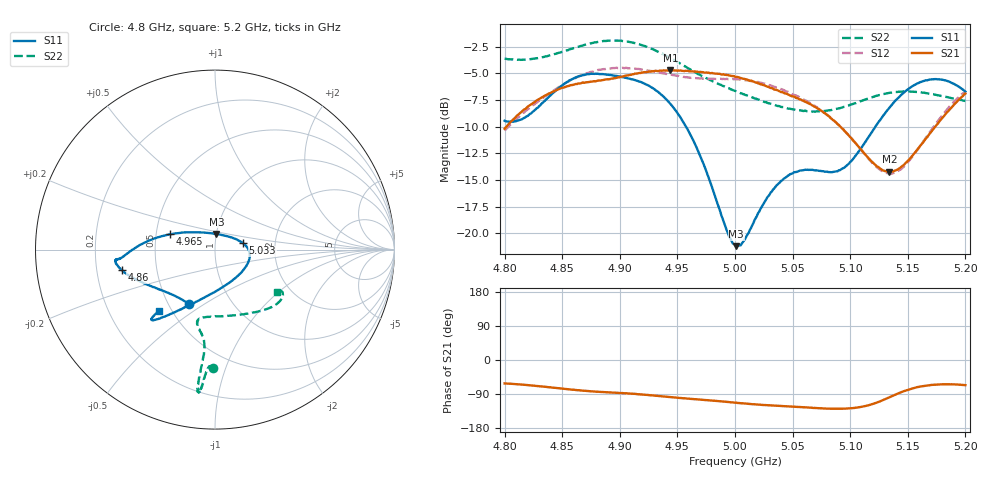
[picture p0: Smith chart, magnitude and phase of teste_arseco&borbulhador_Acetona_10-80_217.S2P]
! Network Analyzer HP8722D
! Hewlett-Packard
! Data name: Linha & Wilkinson
! Saver's name: Rodrigo Anjos
! Comments: Teste da utilização de aquisição
! continua pelo VNA HP8722D
! Time and date: 17/4/2025 16:10
!  Frequency  S11  S21  S12  S22
# HZ  S  MA R 50
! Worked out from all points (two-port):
!   401 points, 4.8 GHz to 5.2 GHz, reference 50 ohm
!   highest |S21| = -4.72 dB at 4.944 GHz (marker M1); lowest = -14.2 dB at 5.134 GHz (marker M2)
!   |S21| within 3 dB of the highest: 4.826 GHz to 5.062 GHz (236 MHz wide, 4.77 % of centre); 5.192279 GHz to end of sweep
!   lowest |S11| = -21.2 dB at 5.001 GHz (marker M3), VSWR 1.19, Z = 50 + j8.74 ohm
!   |S11| at or under -10 dB: 4.957 GHz to 5.122 GHz (164.4 MHz wide, 3.26 % of centre)
!   |S22| runs from -8.6 to -1.9 dB; largest |S21 - S12| = 0.87
!   S11 on the Smith chart (normalised r, x): 4.8 GHz: 0.63, -0.43; 4.86 GHz: 0.31, -0.10; 4.965 GHz: 0.59, +0.11; 5.033 GHz: 1.37, +0.10; 5.2 GHz: 0.43, -0.37
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4.8e9  0.3367 -116.0  0.309 -61.8  0.3034 -176.1  0.658 -91.1
4.818e9  0.3496 -135.2  0.3825 -65.7  0.3737 -175.5  0.6509 -92.6
4.86e9  0.5328 -167.7  0.4972 -78.4  0.5291 -178.7  0.7366 -95.0
4.867e9  0.5487 -170.4  0.5068 -80.7  0.5503 179.9  0.7552 -95.3
4.899e9  0.5429 -174.4  0.5383 -87.0  0.5944 173.8  0.7984 -96.8
4.934e9  0.4562 179.8  0.5764 -95.1  0.5669 170.5  0.7052 -96.9
4.944e9  0.4037 175.1  0.581 -97.9  0.5536 170.7  0.6623 -96.7
4.965e9  0.2639 161.1  0.5741 -103.5  0.5332 172.4  0.5701 -96.1
4.993e9  0.1028 114.2  0.5513 -110.5  0.5294 174.7  0.4808 -98.6
5e9  0.08842 88.7  0.5413 -112.7  0.5276 174.8  0.4646 -100.1
5.001e9  0.08711 84.9  0.5406 -112.7  0.5268 174.9  0.4632 -100.3
5.007e9  0.09121 62.1  0.5293 -114.3  0.523 174.7  0.4489 -101.5
5.033e9  0.1603 13.1  0.476 -120.2  0.4878 173.4  0.4021 -103.4
5.049e9  0.19 -2.4  0.439 -123.1  0.4518 172.8  0.3822 -99.1
5.067e9  0.1984 -21.7  0.3974 -126.0  0.4019 172.4  0.3718 -89.0
5.096e9  0.2055 -72.2  0.2982 -128.3  0.2984 174.7  0.3937 -66.4
5.121e9  0.3101 -110.2  0.2107 -114.7  0.2089 -169.6  0.4373 -49.6
5.134e9  0.3875 -120.3  0.1943 -98.6  0.1905 -151.7  0.4548 -43.2
5.146e9  0.4538 -125.9  0.2079 -82.9  0.2037 -133.6  0.4618 -38.6
5.167e9  0.5211 -131.2  0.2828 -67.1  0.287 -113.7  0.4523 -33.3
5.183e9  0.5197 -132.7  0.363 -64.2  0.3752 -108.6  0.4358 -32.1
5.2e9  0.4612 -132.6  0.4514 -66.4  0.4631 -108.5  0.4167 -34.6
